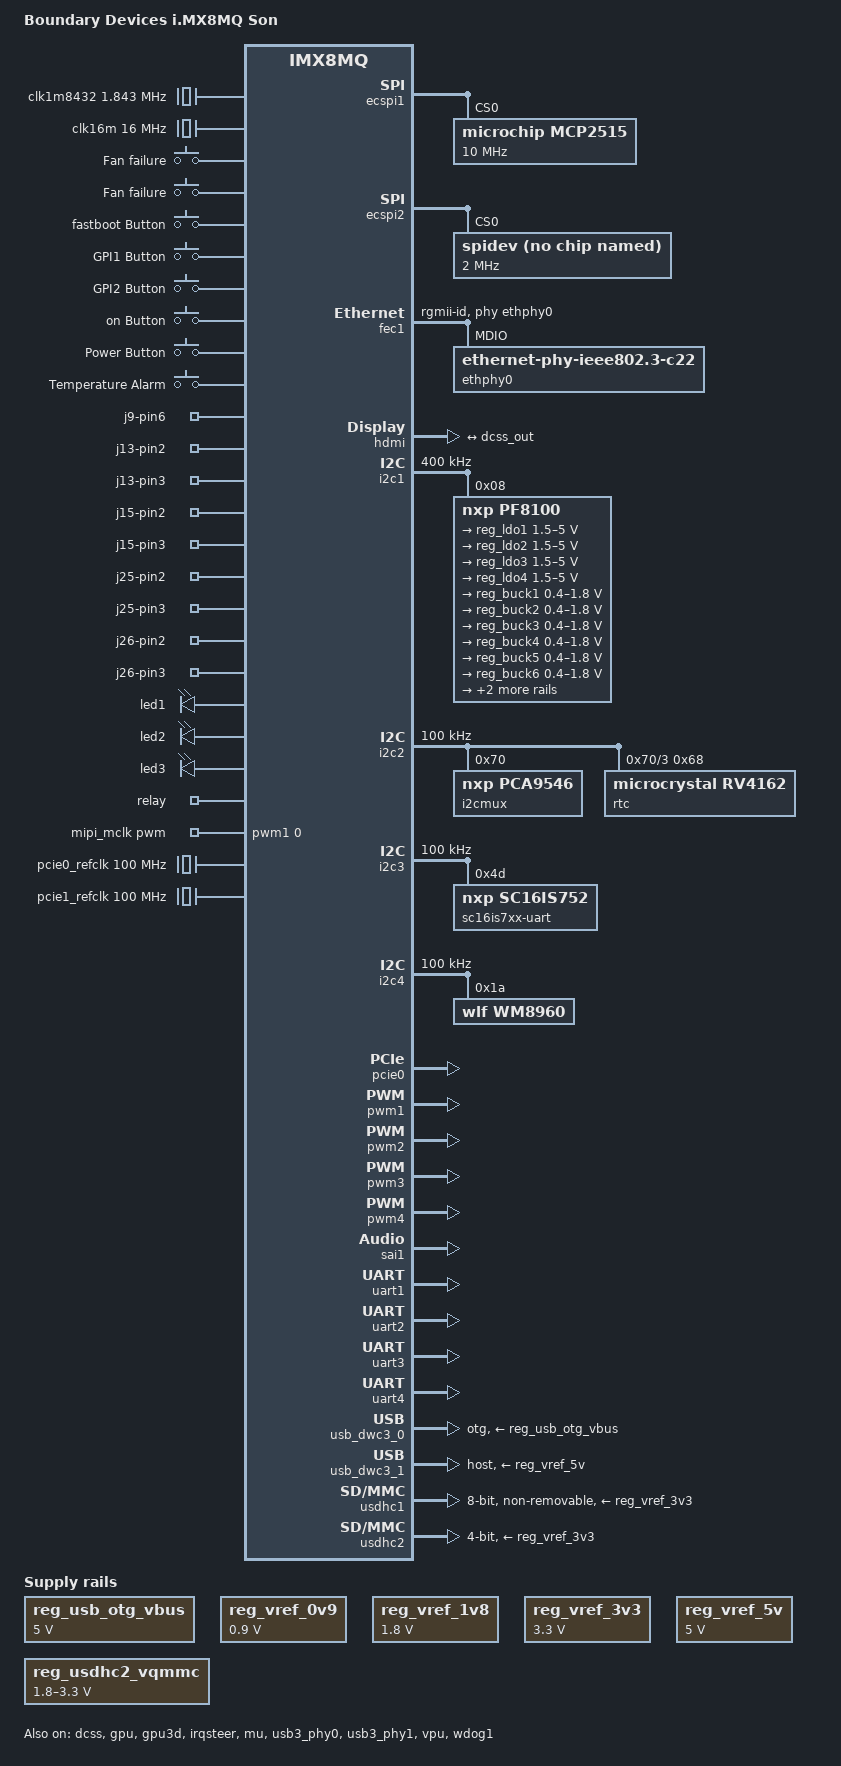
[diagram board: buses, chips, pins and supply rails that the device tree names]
// SPDX-License-Identifier: (GPL-2.0+ OR MIT)
/*
 * Copyright 2018 Boundary Devices
 */

/dts-v1/;

#include "imx8mq.dtsi"

&iomuxc {
	pinctrl-names = "default";
	pinctrl-0 = <&pinctrl_hog>;

	pinctrl_backlight: backlightgrp {
		fsl,pins = <
#define GP_BACKLIGHT_EN	<&gpio3 24 GPIO_ACTIVE_HIGH>
			MX8MQ_IOMUXC_SAI5_RXD3_GPIO3_IO24		0x03
		>;
	};

	pinctrl_bt_rfkill: bt-rfkillgrp {
		fsl,pins = <
#define GP_BT_RFKILL_RESET	<&gpio3 13 GPIO_ACTIVE_LOW>
			MX8MQ_IOMUXC_NAND_DATA07_GPIO3_IO13		0x19
		>;
	};

	pinctrl_ecspi1: ecspi1grp {
		fsl,pins = <
			/* MCP2515 */
#define GP_ECSPI1_CS0	<&gpio5 9 GPIO_ACTIVE_LOW>
			MX8MQ_IOMUXC_ECSPI1_SS0_GPIO5_IO9		0x19
			MX8MQ_IOMUXC_ECSPI1_MISO_ECSPI1_MISO		0x19
			MX8MQ_IOMUXC_ECSPI1_SCLK_ECSPI1_SCLK		0x19
			MX8MQ_IOMUXC_ECSPI1_MOSI_ECSPI1_MOSI		0x19
		>;
	};

	pinctrl_ecspi1_mcp2515t: ecspi1-mcp2515tgrp {
		fsl,pins = <
#define GPIRQ_MCP2515T		<&gpio1 8 IRQ_TYPE_LEVEL_LOW>
			MX8MQ_IOMUXC_GPIO1_IO08_GPIO1_IO8		0xc6
#define GP_MCP2515T_RESET	<&gpio1 4 GPIO_ACTIVE_LOW>
			MX8MQ_IOMUXC_GPIO1_IO04_GPIO1_IO4		0x06

#define GPIRQ_CAN_ERR	<&gpio1 0 IRQ_TYPE_LEVEL_LOW>
			MX8MQ_IOMUXC_GPIO1_IO00_GPIO1_IO0		0xc6
#define GP_CAN_EN		<&gpio1 3 GPIO_ACTIVE_HIGH>
			MX8MQ_IOMUXC_GPIO1_IO03_GPIO1_IO3		0x06
		>;
	};

	pinctrl_ecspi2: ecspi2grp {
		fsl,pins = <
			MX8MQ_IOMUXC_ECSPI2_MISO_ECSPI2_MISO		0x19	/* J23 Pin 6 */
			MX8MQ_IOMUXC_ECSPI2_MOSI_ECSPI2_MOSI		0x19	/* J23 Pin 8 */
#define GP_ECSPI2_CS0	<&gpio5 13 GPIO_ACTIVE_LOW>
			MX8MQ_IOMUXC_ECSPI2_SS0_GPIO5_IO13		0x19	/* J23 Pin 9 */
			MX8MQ_IOMUXC_ECSPI2_SCLK_ECSPI2_SCLK		0x19	/* J23 Pin 10 */
		>;
	};

	pinctrl_fec1: fec1grp {
		fsl,pins = <
			MX8MQ_IOMUXC_ENET_MDC_ENET1_MDC			0x3
			MX8MQ_IOMUXC_ENET_MDIO_ENET1_MDIO		0x23
			MX8MQ_IOMUXC_ENET_TX_CTL_ENET1_RGMII_TX_CTL	0x1f
			MX8MQ_IOMUXC_ENET_TXC_ENET1_RGMII_TXC		0x1f
			MX8MQ_IOMUXC_ENET_TD0_ENET1_RGMII_TD0		0x1f
			MX8MQ_IOMUXC_ENET_TD1_ENET1_RGMII_TD1		0x1f
			MX8MQ_IOMUXC_ENET_TD2_ENET1_RGMII_TD2		0x1f
			MX8MQ_IOMUXC_ENET_TD3_ENET1_RGMII_TD3		0x1f
			MX8MQ_IOMUXC_ENET_RX_CTL_ENET1_RGMII_RX_CTL	0x91
			MX8MQ_IOMUXC_ENET_RXC_ENET1_RGMII_RXC		0x91
			MX8MQ_IOMUXC_ENET_RD0_ENET1_RGMII_RD0		0x91
			MX8MQ_IOMUXC_ENET_RD1_ENET1_RGMII_RD1		0x91
			MX8MQ_IOMUXC_ENET_RD2_ENET1_RGMII_RD2		0x91
			MX8MQ_IOMUXC_ENET_RD3_ENET1_RGMII_RD3		0x91
#define GP_FEC1_RESET	<&gpio1 9 GPIO_ACTIVE_LOW>
			MX8MQ_IOMUXC_GPIO1_IO09_GPIO1_IO9		0x19
#define GPIRQ_FEC1_PHY	<&gpio1 11 IRQ_TYPE_LEVEL_LOW>
			MX8MQ_IOMUXC_GPIO1_IO11_GPIO1_IO11		0xc1
		>;
	};

	pinctrl_gpio_keys: gpio-keysgrp {
		fsl,pins = <
#define GP_AC_FAIL		<&gpio3 10 GPIO_ACTIVE_LOW>
			MX8MQ_IOMUXC_NAND_DATA04_GPIO3_IO10		0xc6	/* J8 Pin 4*/
#define GP_FAN_FAIL		<&gpio3 9 GPIO_ACTIVE_LOW>
			MX8MQ_IOMUXC_NAND_DATA03_GPIO3_IO9		0xc6	/* J8 Pin 5*/
#define GP_FASTBOOT_KEY		<&gpio1 7 GPIO_ACTIVE_LOW>
			MX8MQ_IOMUXC_GPIO1_IO07_GPIO1_IO7		0x19
#define GP_GPI1			<&gpio3 7 GPIO_ACTIVE_LOW>
			MX8MQ_IOMUXC_NAND_DATA01_GPIO3_IO7		0xc6	/* J9 Pin 7*/
#define GP_GPI2			<&gpio3 6 GPIO_ACTIVE_LOW>
			MX8MQ_IOMUXC_NAND_DATA00_GPIO3_IO6		0xc6	/* J9 Pin 4*/
#define GP_ON		<&gpio1 1 GPIO_ACTIVE_LOW>
			MX8MQ_IOMUXC_GPIO1_IO01_GPIO1_IO1
#define GP_POWER	<&gpio3 2 GPIO_ACTIVE_HIGH>
			MX8MQ_IOMUXC_NAND_CE1_B_GPIO3_IO2		0x19
#define GP_TEMP_ALARM		<&gpio3 8 GPIO_ACTIVE_LOW>
			MX8MQ_IOMUXC_NAND_DATA02_GPIO3_IO8		0xc6	/* J8 Pin 7*/
		>;
	};

	pinctrl_hog: hoggrp {
		fsl,pins = <
			MX8MQ_IOMUXC_NAND_WE_B_GPIO3_IO17		0xc6	/* WIFI EN */

			/* J17 connector, odd */
			MX8MQ_IOMUXC_SAI2_TXFS_GPIO4_IO24		0xc6	/* Pin 15 */
			MX8MQ_IOMUXC_SAI2_RXD0_GPIO4_IO23		0xc6	/* Pin 23 */
			MX8MQ_IOMUXC_SAI2_RXFS_GPIO4_IO21		0xc6	/* Pin 25 */
			MX8MQ_IOMUXC_SAI2_RXC_GPIO4_IO22		0xc6	/* Pin 29 */
			MX8MQ_IOMUXC_SAI1_RXFS_GPIO4_IO0		0xc6	/* Pin 19 */
			MX8MQ_IOMUXC_SAI1_RXC_GPIO4_IO1			0xc6	/* Pin 21 */
			MX8MQ_IOMUXC_SAI1_TXD1_GPIO4_IO13		0xc6	/* Pin 39 */
			MX8MQ_IOMUXC_SAI1_TXD2_GPIO4_IO14		0xc6	/* Pin 41 */
			MX8MQ_IOMUXC_SAI1_TXD3_GPIO4_IO15		0xc6	/* Pin 43 */

			/* J17 connector, even */
			MX8MQ_IOMUXC_SAI2_MCLK_GPIO4_IO27		0xc6	/* Pin 32 */
			MX8MQ_IOMUXC_SAI2_TXD0_GPIO4_IO26		0xc6	/* Pin 34 */
			MX8MQ_IOMUXC_GPIO1_IO05_GPIO1_IO5		0xc6	/* Pin 56 */

			/* J18 connector, odd */
			MX8MQ_IOMUXC_NAND_CE0_B_GPIO3_IO1		0xc6	/* Pin 43 */
			MX8MQ_IOMUXC_SAI1_RXD7_GPIO4_IO9		0xc6	/* Pin 47 */
			MX8MQ_IOMUXC_NAND_CE3_B_GPIO3_IO4		0xc6	/* Pin 49 */
			MX8MQ_IOMUXC_NAND_ALE_GPIO3_IO0			0xc6	/* Pin 51 */

			/* J18 connector, even */
			MX8MQ_IOMUXC_NAND_CLE_GPIO3_IO5			0xc6	/* Pin 36 */
			MX8MQ_IOMUXC_NAND_CE2_B_GPIO3_IO3		0xc6	/* Pin 38 */
			MX8MQ_IOMUXC_NAND_READY_B_GPIO3_IO16		0xc6	/* Pin 40 */

			/* Clock for both CSI1 and CSI2 */
			MX8MQ_IOMUXC_GPIO1_IO15_CCMSRCGPCMIX_CLKO2	0xc6
			MX8MQ_IOMUXC_SD2_WP_GPIO2_IO20			0xc6

			/* test points */
			MX8MQ_IOMUXC_SAI5_MCLK_GPIO3_IO25		0xc6	/* TP146 */
			MX8MQ_IOMUXC_SAI5_RXD0_GPIO3_IO21		0xc6	/* TP147 */
		>;
	};

	pinctrl_i2c1: i2c1grp {
		fsl,pins = <
			MX8MQ_IOMUXC_I2C1_SCL_I2C1_SCL			0x4000007f
			MX8MQ_IOMUXC_I2C1_SDA_I2C1_SDA			0x4000007f
		>;
	};

	pinctrl_i2c1_1: i2c1_1grp {
		fsl,pins = <
#define GP_I2C1_SCL	<&gpio5 14 GPIO_OPEN_DRAIN>
			MX8MQ_IOMUXC_I2C1_SCL_GPIO5_IO14		0x4000007f
#define GP_I2C1_SDA	<&gpio5 15 GPIO_OPEN_DRAIN>
			MX8MQ_IOMUXC_I2C1_SDA_GPIO5_IO15		0x4000007f
		>;
	};

	pinctrl_i2c1_pf8100: i2c1-pf8100grp {
		fsl,pins = <
#define GP_I2C1_PF8100_EWARN	<&gpio3 23 GPIO_ACTIVE_LOW>
			MX8MQ_IOMUXC_SAI5_RXD2_GPIO3_IO23		0xc1
#define GP_I2C1_PF8100_FAULT	<&gpio3 22 GPIO_ACTIVE_LOW>
			MX8MQ_IOMUXC_SAI5_RXD1_GPIO3_IO22		0xc1
		>;
	};

	pinctrl_i2c2: i2c2grp {
		fsl,pins = <
			MX8MQ_IOMUXC_I2C2_SCL_I2C2_SCL			0x4000007f
			MX8MQ_IOMUXC_I2C2_SDA_I2C2_SDA			0x4000007f
		>;
	};

	pinctrl_i2c2_1: i2c2_1grp {
		fsl,pins = <
#define GP_I2C2_SCL	<&gpio5 16 GPIO_OPEN_DRAIN>
			MX8MQ_IOMUXC_I2C2_SCL_GPIO5_IO16		0x4000007f
#define GP_I2C2_SDA	<&gpio5 17 GPIO_OPEN_DRAIN>
			MX8MQ_IOMUXC_I2C2_SDA_GPIO5_IO17		0x4000007f
		>;
	};

	pinctrl_i2c2_pca9546: i2c2-pca9546grp {
		fsl,pins = <
#define GP_I2C2_PCA9546_RESET	<&gpio3 18 GPIO_ACTIVE_LOW>
			MX8MQ_IOMUXC_NAND_WP_B_GPIO3_IO18		0x49
		>;
	};

	pinctrl_i2c2a_sn65dsi83: i2c2a-sn65dsi83grp {
		fsl,pins = <
#define GPIRQ_I2C2A_SN65DSI83	<&gpio3 19 IRQ_TYPE_LEVEL_HIGH>
			MX8MQ_IOMUXC_SAI5_RXFS_GPIO3_IO19	0x04
#define GP_I2C2A_SN65DSI83_EN	<&gpio3 15 GPIO_ACTIVE_HIGH>
			MX8MQ_IOMUXC_NAND_RE_B_GPIO3_IO15	0x06
		>;
	};

	pinctrl_i2c2d_rv4162: i2c2d-rv4162grp {
		fsl,pins = <
#define GPIRQ_RV4162		<&gpio1 6 IRQ_TYPE_LEVEL_LOW>
			MX8MQ_IOMUXC_GPIO1_IO06_GPIO1_IO6		0x49
		>;
	};

	pinctrl_i2c3: i2c3grp {
		fsl,pins = <
			MX8MQ_IOMUXC_I2C3_SCL_I2C3_SCL			0x4000007f
			MX8MQ_IOMUXC_I2C3_SDA_I2C3_SDA			0x4000007f
		>;
	};

	pinctrl_i2c3_1: i2c3_1grp {
		fsl,pins = <
#define GP_I2C3_SCL	<&gpio5 18 GPIO_OPEN_DRAIN>
			MX8MQ_IOMUXC_I2C3_SCL_GPIO5_IO18		0x4000007f
#define GP_I2C3_SDA	<&gpio5 19 GPIO_OPEN_DRAIN>
			MX8MQ_IOMUXC_I2C3_SDA_GPIO5_IO19		0x4000007f
		>;
	};
	pinctrl_i2c3_sc16is7xx: i2c3-sc16is7xxgrp {
		fsl,pins = <
#define GPIRQ_SC16IS7XX		<&gpio4 30 IRQ_TYPE_LEVEL_LOW>
			MX8MQ_IOMUXC_SAI3_RXD_GPIO4_IO30		0xc1
#define GP_SC16IS7XX_RESET	<&gpio4 29 GPIO_ACTIVE_LOW>
			MX8MQ_IOMUXC_SAI3_RXC_GPIO4_IO29		0xc1
		>;
	};

	pinctrl_i2c4: i2c4grp {
		fsl,pins = <
			MX8MQ_IOMUXC_I2C4_SCL_I2C4_SCL			0x4000007f
			MX8MQ_IOMUXC_I2C4_SDA_I2C4_SDA			0x4000007f
		>;
	};

	pinctrl_i2c4_1: i2c4_1grp {
		fsl,pins = <
#define GP_I2C4_SCL	<&gpio5 20 GPIO_OPEN_DRAIN>
			MX8MQ_IOMUXC_I2C4_SCL_GPIO5_IO20		0x4000007f
#define GP_I2C4_SDA	<&gpio5 21 GPIO_OPEN_DRAIN>
			MX8MQ_IOMUXC_I2C4_SDA_GPIO5_IO21		0x4000007f
		>;
	};

	pinctrl_leds: ledsgrp {
		fsl,pins = <
#define GP_J9_PIN6			<&gpio3 11 GPIO_ACTIVE_HIGH>
			MX8MQ_IOMUXC_NAND_DATA05_GPIO3_IO11	0x06
#define GP_J13_PIN2			<&gpio4 19 GPIO_ACTIVE_HIGH>
			MX8MQ_IOMUXC_SAI1_TXD7_GPIO4_IO19		0x06
#define GP_J13_PIN3			<&gpio4 18 GPIO_ACTIVE_HIGH>
			MX8MQ_IOMUXC_SAI1_TXD6_GPIO4_IO18		0x06
#define GP_J15_PIN2			<&gpio4 5 GPIO_ACTIVE_HIGH>
			MX8MQ_IOMUXC_SAI1_RXD3_GPIO4_IO5		0x06
#define GP_J15_PIN3			<&gpio4 4 GPIO_ACTIVE_HIGH>
			MX8MQ_IOMUXC_SAI1_RXD2_GPIO4_IO4		0x06
#define GP_J25_PIN2			<&gpio4 17 GPIO_ACTIVE_HIGH>
			MX8MQ_IOMUXC_SAI1_TXD5_GPIO4_IO17		0x06
#define GP_J25_PIN3			<&gpio4 16 GPIO_ACTIVE_HIGH>
			MX8MQ_IOMUXC_SAI1_TXD4_GPIO4_IO16		0x06
#define GP_J26_PIN2			<&gpio4 3 GPIO_ACTIVE_HIGH>
			MX8MQ_IOMUXC_SAI1_RXD1_GPIO4_IO3		0x06
#define GP_J26_PIN3			<&gpio4 6 GPIO_ACTIVE_HIGH>
			MX8MQ_IOMUXC_SAI1_RXD4_GPIO4_IO6		0x06
#define GP_LED1				<&gpio4 7 GPIO_ACTIVE_HIGH>
			MX8MQ_IOMUXC_SAI1_RXD5_GPIO4_IO7		0x19
#define GP_LED2				<&gpio4 8 GPIO_ACTIVE_HIGH>
			MX8MQ_IOMUXC_SAI1_RXD6_GPIO4_IO8		0x19
#define GP_LED3				<&gpio4 25 GPIO_ACTIVE_HIGH>
			MX8MQ_IOMUXC_SAI2_TXC_GPIO4_IO25		0xd6
#define GP_RELAY			<&gpio3 12 GPIO_ACTIVE_HIGH>
			MX8MQ_IOMUXC_NAND_DATA06_GPIO3_IO12	0x06
		>;
	};

	pinctrl_pcie0: pcie0grp {
		fsl,pins = <
#define GP_PCIE0_RESET		<&gpio3 14 GPIO_ACTIVE_LOW>
			MX8MQ_IOMUXC_NAND_DQS_GPIO3_IO14	0x16
#define GP_PCIE0_CLKREQ		<&gpio1 10 GPIO_ACTIVE_LOW>
			MX8MQ_IOMUXC_GPIO1_IO10_GPIO1_IO10	0xe6	/* TP145 on old rev */
		>;
	};

	pinctrl_pwm1: pwm1grp {
		fsl,pins = <
			MX8MQ_IOMUXC_SPDIF_EXT_CLK_PWM1_OUT	0x16	/* J17 pin 31 */
		>;
	};

	pinctrl_pwm2: pwm2grp {
		fsl,pins = <
			MX8MQ_IOMUXC_SPDIF_RX_PWM2_OUT		0x16
		>;
	};

	pinctrl_pwm3: pwm3grp {
		fsl,pins = <
			MX8MQ_IOMUXC_SPDIF_TX_PWM3_OUT		0x16
		>;
	};

	pinctrl_pwm4: pwm4grp {
		fsl,pins = <
			MX8MQ_IOMUXC_SAI3_MCLK_PWM4_OUT		0x16
		>;
	};

	pinctrl_reg_usbotg_vbus: reg-usbotg-vbusgrp {
		fsl,pins = <
#define GP_REG_USB_OTG_VBUS	<&gpio1 12 GPIO_ACTIVE_HIGH>
			MX8MQ_IOMUXC_GPIO1_IO12_GPIO1_IO12	0x16
		>;
	};

	pinctrl_reg_usdhc2_vqmmc: reg-usdhc2-vqmmcgrp {
		fsl,pins = <
#define GP_USDHC2_VSEL	<&gpio3 20 GPIO_ACTIVE_HIGH>
			MX8MQ_IOMUXC_SAI5_RXC_GPIO3_IO20	0x16
		>;
	};

	pinctrl_sai1: sai1grp {
		fsl,pins = <
			/* wm8960 */
			MX8MQ_IOMUXC_SAI1_MCLK_SAI1_MCLK		0xd6
			MX8MQ_IOMUXC_SAI1_TXFS_SAI1_TX_SYNC		0xd6
			MX8MQ_IOMUXC_SAI1_TXC_SAI1_TX_BCLK		0xd6
			MX8MQ_IOMUXC_SAI1_TXD0_SAI1_TX_DATA0		0xd6
			MX8MQ_IOMUXC_SAI1_RXD0_SAI1_RX_DATA0		0xd6
		>;
	};

	/* i2c4 wm8960 - Amplifier Mute, TDA7491LP13TR */
	pinctrl_sound_wm8960: sound-wm8960grp {
		fsl,pins = <
#define GP_WM8960_AMP_STDBY	<&gpio4 28 GPIO_ACTIVE_LOW>		/* Low is standby */
			MX8MQ_IOMUXC_SAI3_RXFS_GPIO4_IO28	0x06
#define GP_WM8960_AMP_MUTE	<&gpio4 31 GPIO_ACTIVE_LOW>		/* Low is muted */
			MX8MQ_IOMUXC_SAI3_TXFS_GPIO4_IO31	0x06
#define GP_WM8960_AMP_G0	<&gpio5 0 GPIO_ACTIVE_HIGH>
			MX8MQ_IOMUXC_SAI3_TXC_GPIO5_IO0		0x06
#define GP_WM8960_AMP_G1	<&gpio5 1 GPIO_ACTIVE_HIGH>
			MX8MQ_IOMUXC_SAI3_TXD_GPIO5_IO1		0x06
		>;
	};

	pinctrl_uart1: uart1grp {
		fsl,pins = <
			MX8MQ_IOMUXC_UART1_RXD_UART1_DCE_RX		0x45
			MX8MQ_IOMUXC_UART1_TXD_UART1_DCE_TX		0x45
		>;
	};

	pinctrl_uart2: uart2grp {
		fsl,pins = <
			MX8MQ_IOMUXC_UART2_RXD_UART2_DCE_RX		0x45
			MX8MQ_IOMUXC_UART2_TXD_UART2_DCE_TX		0x45
		>;
	};

	pinctrl_uart3: uart3grp {
		fsl,pins = <
			MX8MQ_IOMUXC_UART3_RXD_UART3_DCE_RX		0x45
			MX8MQ_IOMUXC_UART3_TXD_UART3_DCE_TX		0x45
		>;
	};

	pinctrl_uart4: uart4grp {
		fsl,pins = <
			MX8MQ_IOMUXC_UART4_RXD_UART4_DCE_RX		0x45
			MX8MQ_IOMUXC_UART4_TXD_UART4_DCE_TX		0x45
		>;
	};

	pinctrl_usb3_0: usb3-0grp {
		fsl,pins = <
			MX8MQ_IOMUXC_GPIO1_IO13_USB1_OTG_OC		0x16
		>;
	};

	pinctrl_usb3_1: usb3-1grp {
		fsl,pins = <
#define GP_USB3_1_HUB_RESET	<&gpio1 14 GPIO_ACTIVE_LOW>
			MX8MQ_IOMUXC_GPIO1_IO14_GPIO1_IO14		0x16
		>;
	};

	pinctrl_usdhc1: usdhc1grp {
		fsl,pins = <
			MX8MQ_IOMUXC_SD1_CLK_USDHC1_CLK			0x83
			MX8MQ_IOMUXC_SD1_CMD_USDHC1_CMD			0xc3
			MX8MQ_IOMUXC_SD1_DATA0_USDHC1_DATA0		0xc3
			MX8MQ_IOMUXC_SD1_DATA1_USDHC1_DATA1		0xc3
			MX8MQ_IOMUXC_SD1_DATA2_USDHC1_DATA2		0xc3
			MX8MQ_IOMUXC_SD1_DATA3_USDHC1_DATA3		0xc3
			MX8MQ_IOMUXC_SD1_DATA4_USDHC1_DATA4		0xc3
			MX8MQ_IOMUXC_SD1_DATA5_USDHC1_DATA5		0xc3
			MX8MQ_IOMUXC_SD1_DATA6_USDHC1_DATA6		0xc3
			MX8MQ_IOMUXC_SD1_DATA7_USDHC1_DATA7		0xc3
#define GP_EMMC_RESET		<&gpio2 10 GPIO_ACTIVE_LOW>
			MX8MQ_IOMUXC_SD1_RESET_B_GPIO2_IO10		0x41
		>;
	};

	pinctrl_usdhc1_100mhz: usdhc1grp100mhz {
		fsl,pins = <
			MX8MQ_IOMUXC_SD1_CLK_USDHC1_CLK			0x8d
			MX8MQ_IOMUXC_SD1_CMD_USDHC1_CMD			0xcd
			MX8MQ_IOMUXC_SD1_DATA0_USDHC1_DATA0		0xcd
			MX8MQ_IOMUXC_SD1_DATA1_USDHC1_DATA1		0xcd
			MX8MQ_IOMUXC_SD1_DATA2_USDHC1_DATA2		0xcd
			MX8MQ_IOMUXC_SD1_DATA3_USDHC1_DATA3		0xcd
			MX8MQ_IOMUXC_SD1_DATA4_USDHC1_DATA4		0xcd
			MX8MQ_IOMUXC_SD1_DATA5_USDHC1_DATA5		0xcd
			MX8MQ_IOMUXC_SD1_DATA6_USDHC1_DATA6		0xcd
			MX8MQ_IOMUXC_SD1_DATA7_USDHC1_DATA7		0xcd
		>;
	};

	pinctrl_usdhc1_200mhz: usdhc1grp200mhz {
		fsl,pins = <
			MX8MQ_IOMUXC_SD1_CLK_USDHC1_CLK			0x9f
			MX8MQ_IOMUXC_SD1_CMD_USDHC1_CMD			0xdf
			MX8MQ_IOMUXC_SD1_DATA0_USDHC1_DATA0		0xdf
			MX8MQ_IOMUXC_SD1_DATA1_USDHC1_DATA1		0xdf
			MX8MQ_IOMUXC_SD1_DATA2_USDHC1_DATA2		0xdf
			MX8MQ_IOMUXC_SD1_DATA3_USDHC1_DATA3		0xdf
			MX8MQ_IOMUXC_SD1_DATA4_USDHC1_DATA4		0xdf
			MX8MQ_IOMUXC_SD1_DATA5_USDHC1_DATA5		0xdf
			MX8MQ_IOMUXC_SD1_DATA6_USDHC1_DATA6		0xdf
			MX8MQ_IOMUXC_SD1_DATA7_USDHC1_DATA7		0xdf
		>;
	};

	pinctrl_usdhc2: usdhc2grp {
		fsl,pins = <
			MX8MQ_IOMUXC_SD2_CLK_USDHC2_CLK			0x83
			MX8MQ_IOMUXC_SD2_CMD_USDHC2_CMD			0xc3
			MX8MQ_IOMUXC_SD2_DATA0_USDHC2_DATA0		0xc3
			MX8MQ_IOMUXC_SD2_DATA1_USDHC2_DATA1		0xc3
			MX8MQ_IOMUXC_SD2_DATA2_USDHC2_DATA2		0xc3
			MX8MQ_IOMUXC_SD2_DATA3_USDHC2_DATA3		0xc3
#define GP_USDHC2_CD	<&gpio2 12 GPIO_ACTIVE_LOW>
			MX8MQ_IOMUXC_SD2_CD_B_GPIO2_IO12		0xc3
		>;
	};

	pinctrl_usdhc2_100mhz: usdhc2grp100mhz {
		fsl,pins = <
			MX8MQ_IOMUXC_SD2_CLK_USDHC2_CLK			0x8d
			MX8MQ_IOMUXC_SD2_CMD_USDHC2_CMD			0xcd
			MX8MQ_IOMUXC_SD2_DATA0_USDHC2_DATA0		0xcd
			MX8MQ_IOMUXC_SD2_DATA1_USDHC2_DATA1		0xcd
			MX8MQ_IOMUXC_SD2_DATA2_USDHC2_DATA2		0xcd
			MX8MQ_IOMUXC_SD2_DATA3_USDHC2_DATA3		0xcd
		>;
	};

	pinctrl_usdhc2_200mhz: usdhc2grp200mhz {
		fsl,pins = <
			MX8MQ_IOMUXC_SD2_CLK_USDHC2_CLK			0x9f
			MX8MQ_IOMUXC_SD2_CMD_USDHC2_CMD			0xdf
			MX8MQ_IOMUXC_SD2_DATA0_USDHC2_DATA0		0xdf
			MX8MQ_IOMUXC_SD2_DATA1_USDHC2_DATA1		0xdf
			MX8MQ_IOMUXC_SD2_DATA2_USDHC2_DATA2		0xdf
			MX8MQ_IOMUXC_SD2_DATA3_USDHC2_DATA3		0xdf
		>;
	};

	pinctrl_wdog: wdoggrp {
		fsl,pins = <
			MX8MQ_IOMUXC_GPIO1_IO02_WDOG1_WDOG_B		0xc6
		>;
	};
};

/ {
	model = "Boundary Devices i.MX8MQ Son";
	compatible = "boundary,imx8mq-son", "fsl,imx8mq";

	aliases {
		backlight_mipi = &backlight_mipi;
		dcss = &dcss;
		fb_mipi = &fb_mipi;
		fb_hdmi = &hdmi;
		lcdif = &lcdif;
		mipi = &fb_mipi;
		mipi_dsi = &mipi_dsi;
		mipi_dsi_bridge = &mipi_dsi;
		mipi_dsi_phy = &dphy;
		mipi_to_lvds = &mipi_to_lvds;
		pwm_mipi = &pwm1;
		sound_hdmi = &sound_hdmi;
		t_mipi = &t_mipi;
	};

	backlight_mipi: backlight-mipi {
		brightness-levels = <0 1 2 3 4 5 6 7 8 9 10>;
		compatible = "pwm-backlight";
		default-brightness-level = <8>;
		display = <&lcdif>;
		enable-gpios = GP_BACKLIGHT_EN;
		pinctrl-names = "default";
		pinctrl-0 = <&pinctrl_backlight>;
		pwms = <&pwm3 0 30000>;		/* 33.3 Khz */
		status = "disabled";
	};

	bt-rfkill {
		compatible = "net,rfkill-gpio";
		pinctrl-names = "default";
		pinctrl-0 = <&pinctrl_bt_rfkill>;
		name = "bt-rfkill";
		type = <2>; /* Bluetooth */
		reset-gpios = GP_BT_RFKILL_RESET;
		status = "okay";
	};

	clocks {
		clk1m8432: clk1m8432 {
			compatible = "fixed-clock";
			#clock-cells = <0>;
			clock-frequency = <1843200>;
		};

		clk16m: clk16m {
			compatible = "fixed-clock";
			#clock-cells = <0>;
			clock-frequency = <16000000>;
		};
	};

	gpio-keys {
		compatible = "gpio-keys";
		pinctrl-names = "default";
		pinctrl-0 = <&pinctrl_gpio_keys>;

		ac-fail {
			label = "Fan failure";
			gpios = GP_AC_FAIL;
			linux,code = <KEY_A>;
			gpio-key,wakeup;
		};

		fan-fail {
			label = "Fan failure";
			gpios = GP_FAN_FAIL;
			linux,code = <KEY_F>;
			gpio-key,wakeup;
		};

		fastboot {
			label = "fastboot Button";
			gpios = GP_FASTBOOT_KEY;
			linux,code = <KEY_ESC>;
			gpio-key,wakeup;
		};

		gpi1 {
			label = "GPI1 Button";
			gpios = GP_GPI1;
			linux,code = <KEY_1>;
			gpio-key,wakeup;
		};

		gpi2 {
			label = "GPI2 Button";
			gpios = GP_GPI2;
			linux,code = <KEY_2>;
			gpio-key,wakeup;
		};

		on {
			label = "on Button";
			gpios = GP_ON;
			linux,code = <KEY_0>;
			gpio-key,wakeup;
		};

		power {
			label = "Power Button";
			gpios = GP_POWER;
			linux,code = <KEY_POWER>;
			gpio-key,wakeup;
		};

		temp-alarm {
			label = "Temperature Alarm";
			gpios = GP_TEMP_ALARM;
			linux,code = <KEY_T>;
			gpio-key,wakeup;
		};
	};

	leds {
		compatible = "gpio-leds";
		pinctrl-names = "default";
		pinctrl-0 = <&pinctrl_leds>;
		j9-pin6 {
			gpios = GP_J9_PIN6;
			retain-state-suspended;
			default-state = "off";
		};

		j13-pin2 {
			gpios = GP_J13_PIN2;
			retain-state-suspended;
			default-state = "off";
		};

		j13-pin3 {
			gpios = GP_J13_PIN3;
			retain-state-suspended;
			default-state = "off";
		};

		j15-pin2 {
			gpios = GP_J15_PIN2;
			retain-state-suspended;
			default-state = "off";
		};

		j15-pin3 {
			gpios = GP_J15_PIN3;
			retain-state-suspended;
			default-state = "off";
		};

		j25-pin2 {
			gpios = GP_J25_PIN2;
			retain-state-suspended;
			default-state = "off";
		};

		j25-pin3 {
			gpios = GP_J25_PIN3;
			retain-state-suspended;
			default-state = "off";
		};

		j26-pin2 {
			gpios = GP_J26_PIN2;
			retain-state-suspended;
			default-state = "off";
		};

		j26-pin3 {
			gpios = GP_J26_PIN3;
			retain-state-suspended;
			default-state = "off";
		};

		led1 {
			gpios = GP_LED1;
			retain-state-suspended;
			default-state = "off";
		};

		led2 {
			gpios = GP_LED2;
			retain-state-suspended;
			default-state = "off";
		};

		led3 {
			gpios = GP_LED3;
			retain-state-suspended;
			default-state = "off";
		};

		relay {
			gpios = GP_RELAY;
			retain-state-suspended;
			default-state = "off";
		};
	};

	mipi_mclk: mipi-mclk {
		compatible = "pwm-clock";
		#clock-cells = <0>;
		clock-frequency = <22000000>;
		clock-output-names = "mipi_mclk";
		pwms = <&pwm1 0 45>; /* 1 / 45 ns = 22 MHz */
	};

	pcie0_refclk: pcie0-refclk {
		compatible = "fixed-clock";
		#clock-cells = <0>;
		clock-frequency = <100000000>;
	};

	pcie1_refclk: pcie1-refclk {
		compatible = "fixed-clock";
		#clock-cells = <0>;
		clock-frequency = <100000000>;
	};

	reg_usb_otg_vbus: regulator-usb-otg-vbus {
		compatible = "regulator-fixed";
		pinctrl-names = "default";
		pinctrl-0 = <&pinctrl_reg_usbotg_vbus>;
		regulator-name = "usb_otg_vbus";
		regulator-min-microvolt = <5000000>;
		regulator-max-microvolt = <5000000>;
		gpio = GP_REG_USB_OTG_VBUS;
		enable-active-high;
	};

	reg_vref_0v9: regulator-vref-0v9 {
		compatible = "regulator-fixed";
		regulator-name = "vref-0v9";
		regulator-min-microvolt = <900000>;
		regulator-max-microvolt = <900000>;
	};

	reg_vref_1v8: regulator-vref-1v8 {
		compatible = "regulator-fixed";
		regulator-name = "vref-1v8";
		regulator-min-microvolt = <1800000>;
		regulator-max-microvolt = <1800000>;
	};

	reg_vref_3v3: regulator-vref-3v3 {
		compatible = "regulator-fixed";
		regulator-name = "vref-3v3";
		regulator-min-microvolt = <3300000>;
		regulator-max-microvolt = <3300000>;
	};

	reg_vref_5v: regulator-vref-5v {
		compatible = "regulator-fixed";
		regulator-name = "vref-5v";
		regulator-min-microvolt = <5000000>;
		regulator-max-microvolt = <5000000>;
	};

	reg_usdhc2_vqmmc: regulator-usdhc2-vqmmc {
		compatible = "regulator-gpio";
		pinctrl-names = "default";
		pinctrl-0 = <&pinctrl_reg_usdhc2_vqmmc>;
		regulator-name = "reg_sd2_vsel";
		regulator-min-microvolt = <1800000>;
		regulator-max-microvolt = <3300000>;
		regulator-type = "voltage";
		regulator-boot-on;
		regulator-always-on;
		gpios = GP_USDHC2_VSEL;
		states = <1800000 0x1
			  3300000 0x0>;
	};

	resmem: reserved-memory {
		#address-cells = <2>;
		#size-cells = <2>;
		ranges;

		/* global autoconfigured region for contiguous allocations */
		linux,cma {
			compatible = "shared-dma-pool";
			reusable;
			size = <0 0x3c000000>;
			alloc-ranges = <0 0x40000000 0 0x40000000>;
			linux,cma-default;
		};
	};

	sound-wm8960 {
		amp-gain-gpios = GP_WM8960_AMP_G0, GP_WM8960_AMP_G1;
		/* amp-gain-seq = /bits/ 8 <0 1 2 3>; */ /* default */
		amp-mute-gpios = GP_WM8960_AMP_MUTE;
		/* delay between mute and standby enter */
		amp-standby-enter-wait-ms = <50>;
		/* delay between standby exit and unmute */
		amp-standby-exit-delay-ms = <100>;
		amp-standby-gpios = GP_WM8960_AMP_STDBY;
		audio-codec = <&wm8960>;
		audio-routing =
			"Ext Spk", "HP_L",
			"Ext Spk", "HP_R",
			"LINPUT1", "Main MIC",
			"Main MIC", "MICB";
		codec-master;
		compatible = "fsl,imx-audio-wm8960";
		cpu-dai = <&sai1>;
		model = "wm8960-audio";
		pinctrl-names = "default";
		pinctrl-0 = <&pinctrl_sound_wm8960>;
	};

	sound_hdmi: sound-hdmi {
		compatible = "fsl,imx-audio-cdnhdmi";
		model = "imx-audio-hdmi";
		audio-cpu = <&sai4>;
		constraint-rate = <32000 44100 48000 96000 192000>;
		protocol = <1>;
		hdmi-out;
		status = "okay";
	};
};

&A53_0 {
	cpu-supply = <&reg_buck3>;
};

&A53_1 {
	cpu-supply = <&reg_buck3>;
};

&A53_2 {
	cpu-supply = <&reg_buck3>;
};

&A53_3 {
	cpu-supply = <&reg_buck3>;
};

&dcss {
	status = "okay";

	port {
		dcss_out: endpoint {
			remote-endpoint = <&hdmi_in>;
		};
	};
};

&ecspi1 {
	pinctrl-names = "default";
	pinctrl-0 = <&pinctrl_ecspi1>;
	fsl,spi-num-chipselects = <1>;
	cs-gpios = GP_ECSPI1_CS0;
	status = "okay";
	#address-cells = <1>;
	#size-cells = <0>;

	/* can bus */
	mcp2515: mcp2515@0 {
		clocks = <&clk16m>;
		compatible = "microchip,mcp2515";
		err-gpios = GPIRQ_CAN_ERR;
		interrupts-extended = GPIRQ_MCP2515T;
		pinctrl-names = "default";
		pinctrl-0 = <&pinctrl_ecspi1_mcp2515t>;
		reg = <0>;
		reset-gpios = GP_MCP2515T_RESET;
		spi-max-frequency = <10000000>;
		xceiver-gpios = GP_CAN_EN;
	};
};

&ecspi2 {
	pinctrl-names = "default";
	pinctrl-0 = <&pinctrl_ecspi2>;
	fsl,spi-num-chipselects = <1>;
	cs-gpios = GP_ECSPI2_CS0;
	status = "okay";
	#address-cells = <1>;
	#size-cells = <0>;

	spidev@0 {
		compatible = "spidev";
		spi-max-frequency = <2000000>;
		reg = <0>;
	};
};

&fec1 {
	pinctrl-names = "default";
	pinctrl-0 = <&pinctrl_fec1>;
#if 0
	phy-reset-gpios = GP_FEC1_RESET;
#endif
	phy-mode = "rgmii-id";
	phy-handle = <&ethphy0>;
	fsl,magic-packet;
	status = "okay";

	mdio {
		#address-cells = <1>;
		#size-cells = <0>;

		ethphy0: ethernet-phy {
			compatible = "ethernet-phy-ieee802.3-c22";
			interrupts-extended = GPIRQ_FEC1_PHY;
			reg-mask = <0x90>;
		};
	};
};

&gpu {
	power-domains = <&pgc_gpu>;
	status = "okay";
};

&gpu3d {
	power-domains = <&pgc_gpu>;
	status = "okay";
};

&hdmi {
	compatible = "cdn,imx8mq-hdmi";
	lane-mapping = <0xe4>;
	status = "okay";

	port {
		hdmi_in: endpoint {
			remote-endpoint = <&dcss_out>;
		};
	};
};

&i2c1 {
	clock-frequency = <400000>;
	pinctrl-names = "default";
	pinctrl-0 = <&pinctrl_i2c1>;
	pinctrl-1 = <&pinctrl_i2c1_1>;
	scl-gpios = GP_I2C1_SCL;
	sda-gpios = GP_I2C1_SDA;
	status = "okay";

	pf8100@8 {
		compatible = "nxp,pf8100";
		pinctrl-names = "default";
		pinctrl-0 = <&pinctrl_i2c1_pf8100>;
		reg = <0x08>;

		regulators {
			reg_ldo1: ldo1 {
				regulator-always-on;
				regulator-boot-on;
				regulator-max-microvolt = <5000000>;
				regulator-min-microvolt = <1500000>;
			};

			reg_ldo2: ldo2 {
				regulator-always-on;
				regulator-boot-on;
				regulator-max-microvolt = <5000000>;
				regulator-min-microvolt = <1500000>;
				/* vselect low is 3.3V, high is 1.8V */
				vselect-en;
			};

			reg_ldo3: ldo3 {
				regulator-always-on;
				regulator-boot-on;
				regulator-max-microvolt = <5000000>;
				regulator-min-microvolt = <1500000>;
			};

			reg_ldo4: ldo4 {
				regulator-always-on;
				regulator-boot-on;
				regulator-max-microvolt = <5000000>;
				regulator-min-microvolt = <1500000>;
			};

			reg_buck1: buck1 {
				nxp,phase-shift = <0>;
				regulator-max-microamp = <4500000>;
				regulator-always-on;
				regulator-boot-on;
				regulator-max-microvolt = <1800000>;
				regulator-min-microvolt =  <400000>;
			};

			reg_buck2: buck2 {
				regulator-always-on;
				regulator-boot-on;
				regulator-max-microvolt = <1800000>;
				regulator-min-microvolt =  <400000>;
			};

			reg_buck3: buck3 {
				regulator-always-on;
				regulator-boot-on;
				regulator-max-microvolt = <1800000>;
				regulator-min-microvolt =  <400000>;
			};

			reg_buck4: buck4 {
				regulator-always-on;
				regulator-boot-on;
				regulator-max-microvolt = <1800000>;
				regulator-min-microvolt =  <400000>;
			};

			reg_buck5: buck5 {
				regulator-always-on;
				regulator-boot-on;
				regulator-max-microvolt = <1800000>;
				regulator-min-microvolt =  <400000>;
			};

			reg_buck6: buck6 {
				regulator-always-on;
				regulator-boot-on;
				regulator-max-microvolt = <1800000>;
				regulator-min-microvolt =  <400000>;
			};

			reg_buck7: buck7 {
				regulator-always-on;
				regulator-boot-on;
				regulator-max-microvolt = <4100000>;
				regulator-min-microvolt = <1000000>;
			};

			reg_vsnvs: vsnvs {
				regulator-always-on;
				regulator-boot-on;
				regulator-max-microvolt = <3300000>;
				regulator-min-microvolt = <1800000>;
			};
		};
	};
};

&i2c2 {
	clock-frequency = <100000>;
	pinctrl-names = "default";
	pinctrl-0 = <&pinctrl_i2c2>;
	pinctrl-1 = <&pinctrl_i2c2_1>;
	scl-gpios = GP_I2C2_SCL;
	sda-gpios = GP_I2C2_SDA;
	status = "okay";

	i2cmux@70 {
		compatible = "nxp,pca9546";
		pinctrl-names = "default";
		pinctrl-0 = <&pinctrl_i2c2_pca9546>;
		reg = <0x70>;
		reset-gpios = GP_I2C2_PCA9546_RESET;
		#address-cells = <1>;
		#size-cells = <0>;

		i2c2a: i2c2@0 {
			reg = <0>;
			#address-cells = <1>;
			#size-cells = <0>;
		};

		i2c2b: i2c2@1 {
			reg = <1>;
			#address-cells = <1>;
			#size-cells = <0>;
		};

		i2c2c: i2c2@2 {
			reg = <2>;
			#address-cells = <1>;
			#size-cells = <0>;
		};

		i2c2d: i2c2@3 {
			reg = <3>;
			#address-cells = <1>;
			#size-cells = <0>;
		};
	};
};

&i2c2b {
	/* J27 */
};

&i2c2c {
	/* J28 */
};

&i2c2d {
	rtc@68 {
		compatible = "microcrystal,rv4162";
		pinctrl-names = "default";
		pinctrl-0 = <&pinctrl_i2c2d_rv4162>;
		reg = <0x68>;
		interrupts-extended = GPIRQ_RV4162;
		sqw-freq = <32768>;
		wakeup-source;
	};
};

&i2c3 {
	clock-frequency = <100000>;
	pinctrl-names = "default";
	pinctrl-0 = <&pinctrl_i2c3>;
	pinctrl-1 = <&pinctrl_i2c3_1>;
	scl-gpios = GP_I2C3_SCL;
	sda-gpios = GP_I2C3_SDA;
	status = "okay";

	sc16is7xx-uart@4d {
		clocks = <&clk1m8432>;
		compatible = "nxp,sc16is752";
		interrupts-extended = GPIRQ_SC16IS7XX;
		pinctrl-names = "default";
		pinctrl-0 = <&pinctrl_i2c3_sc16is7xx>;
		reg = <0x4d>;
		reset-gpio = GP_SC16IS7XX_RESET;
	};
};

&i2c4 {
	clock-frequency = <100000>;
	pinctrl-names = "default";
	pinctrl-0 = <&pinctrl_i2c4>;
	pinctrl-1 = <&pinctrl_i2c4_1>;
	scl-gpios = GP_I2C4_SCL;
	sda-gpios = GP_I2C4_SDA;
	status = "okay";

	wm8960: codec@1a {
		compatible = "wlf,wm8960";
		clock-names = "mclk";
		clocks = <&clk IMX8MQ_CLK_SAI1_ROOT>;
		reg = <0x1a>;
		wlf,shared-lrclk;
	};
};

&irqsteer {
	status = "okay";
};

&lcdif {
	status = "disabled";
	assigned-clocks = <&clk IMX8MQ_CLK_LCDIF_PIXEL>,
			  <&clk IMX8MQ_VIDEO_PLL1_REF_SEL>;
	assigned-clock-parents = <&clk IMX8MQ_VIDEO_PLL1_OUT>,
				 <&clk IMX8MQ_CLK_25M>;
};

&mipi_dsi {
	/delete-property/ no_clk_reset;
	assigned-clocks = <&clk IMX8MQ_CLK_DSI_PHY_REF>,
			  <&clk IMX8MQ_CLK_DSI_CORE>,
			  <&clk IMX8MQ_CLK_DSI_AHB>,
			  <&clk IMX8MQ_VIDEO_PLL1_REF_SEL>,
			  <&clk IMX8MQ_CLK_DSI_IPG_DIV>;
	assigned-clock-parents = <&clk IMX8MQ_VIDEO_PLL1_OUT>,
				 <&clk IMX8MQ_SYS1_PLL_266M>,
				 <&clk IMX8MQ_SYS1_PLL_80M>,
				 <&clk IMX8MQ_CLK_25M>;
	assigned-clock-rates = <27000000>,
			       <266000000>,
			       <80000000>,
			       <0>,
			       <20000000>;
	status = "disabled";
	#address-cells = <1>;
	#size-cells = <0>;

	fb_mipi: panel@0 {
		backlight = <&backlight_mipi>;
		bits-per-color = <8>;
		bridge-de-active = <0>;
#if 0
		bridge-sync-active = <1>;
#endif
		bus-format = "rgb888";
		clocks = <&dphy 0>,
			<&clk IMX8MQ_CLK_LCDIF_PIXEL>;
		clock-names = "mipi_clk", "pixel_clock";
		compatible = "panel,common";
		delay-power-up = <2>;
		dsi-format = "rgb888";
		dsi-lanes = <4>;
		mode-skip-eot;
		mode-video;
		mode-video-burst;
		panel-height-mm = <136>;
		panel-width-mm = <217>;
		pinctrl-names = "sn65dsi83";
		pinctrl-0 = <&pinctrl_i2c2a_sn65dsi83>;
		power-supply = <&reg_vref_5v>;
		reg = <0>;
		sn65dsi83 = <&mipi_to_lvds>;

		display-timings {
			t_mipi: t-dsi-default {
				/* m101nwwb by default */
				clock-frequency = <70000000>;
				hactive = <1280>;
				vactive = <800>;
				hback-porch = <5>;
				hfront-porch = <123>;
				vback-porch = <3>;
				vfront-porch = <24>;
				hsync-len = <1>;
				vsync-len = <1>;
				hsync-active = <1>;
				vsync-active = <1>;
				de-active = <1>;
			};
		};

		mipi_to_lvds: mipi-to-lvds {
			alias = <&mipi_to_lvds>;
			enable-gpios = GP_I2C2A_SN65DSI83_EN;
			i2c-address = <0x2c>;
			i2c-bus = <&i2c2a>;
			interrupts-extended = GPIRQ_I2C2A_SN65DSI83;
			status = "disabled";
		};

		port {
			panel1_in: endpoint {
				remote-endpoint = <&mipi_dsi_out>;
			};
		};
	};

	ports {
		port@1 {
			reg = <1>;

			mipi_dsi_out: endpoint {
				remote-endpoint = <&panel1_in>;
			};
		};
	};
};

&mu {
	status = "okay";
};

&pcie0 {
	assigned-clocks = <&clk IMX8MQ_CLK_PCIE1_AUX>,
			  <&clk IMX8MQ_CLK_PCIE1_PHY>,
			  <&clk IMX8MQ_CLK_PCIE1_CTRL>;
	assigned-clock-parents = <&clk IMX8MQ_SYS2_PLL_50M>,
				 <&clk IMX8MQ_SYS2_PLL_100M>,
				 <&clk IMX8MQ_SYS2_PLL_250M>;
	assigned-clock-rates = <10000000>, <100000000>, <250000000>;
	clkreq-gpio = GP_PCIE0_CLKREQ;
#if 1
	clocks = <&clk IMX8MQ_CLK_PCIE1_ROOT>,
		<&clk IMX8MQ_CLK_PCIE1_AUX>,
		<&clk IMX8MQ_CLK_PCIE1_PHY>,
		<&pcie0_refclk>,
		<&clk IMX8MQ_CLK_CLK2_CG>;
	clock-names = "pcie", "pcie_aux", "pcie_phy", "pcie_bus", "pcie_ext_src";
	ext_osc = <0>;
#else
	ext_osc = <1>;
#endif
	fsl,tx-deemph-gen1 = <27>;
	fsl,tx-deemph-gen2-3p5db = <24>;
	fsl,tx-deemph-gen2-6db = <35>;
	fsl,tx-swing-full = <62>;
	fsl,tx-swing-low = <62>;
	fsl,max-link-speed = <1>;
	pinctrl-names = "default";
	pinctrl-0 = <&pinctrl_pcie0>;
	/* TODO check clock */
	reset-gpio = GP_PCIE0_RESET;
	status = "okay";
};

&pcie1 {
	assigned-clocks = <&clk IMX8MQ_CLK_PCIE2_AUX>,
			  <&clk IMX8MQ_CLK_PCIE2_PHY>,
			  <&clk IMX8MQ_CLK_PCIE2_CTRL>;
	assigned-clock-parents = <&clk IMX8MQ_SYS2_PLL_50M>,
				 <&clk IMX8MQ_SYS2_PLL_100M>,
				 <&clk IMX8MQ_SYS2_PLL_250M>;
	assigned-clock-rates = <10000000>, <100000000>, <250000000>;
	clocks = <&clk IMX8MQ_CLK_PCIE2_ROOT>,
		<&clk IMX8MQ_CLK_PCIE2_AUX>,
		<&clk IMX8MQ_CLK_PCIE2_PHY>,
		<&pcie1_refclk>;
	clock-names = "pcie", "pcie_aux", "pcie_phy", "pcie_bus";
	ext_osc = <1>;
	hard-wired;
	status = "disabled";
};

/delete-node/ &pgc_gpu;
/delete-node/ &pgc_vpu;
&pgc {
	pgc_gpuvpu: pgc-gpuvpu {
		#address-cells = <1>;
		#power-domain-cells = <0>;
		#size-cells = <0>;
		domain-name = "VPUGPU_PD";
		dvfs-supply = <&reg_buck5>;
		idle-microvolt = <900000 837000 990000>;

		pgc_gpu: power-domain@5 {
			clocks = <&clk IMX8MQ_CLK_GPU_AXI>,
				 <&clk IMX8MQ_CLK_GPU_SHADER_DIV>,
				 <&clk IMX8MQ_CLK_GPU_ROOT>,
				 <&clk IMX8MQ_CLK_GPU_AHB>;
			reg = <IMX8M_POWER_DOMAIN_GPU>;
			operating-points-v2 = <&gpu_opp_table>;
			#power-domain-cells = <0>;
		};

		pgc_vpu: power-domain@6 {
			clocks = <&clk IMX8MQ_CLK_VPU_G1_ROOT>,
				 <&clk IMX8MQ_CLK_VPU_G2_ROOT>,
				 <&clk IMX8MQ_CLK_VPU_DEC_ROOT>;
			reg = <IMX8M_POWER_DOMAIN_VPU>;
			operating-points-v2 = <&vpu_opp_table_g1>,
					<&vpu_opp_table_g2>,
					<&vpu_opp_table_dec>;
			#power-domain-cells = <0>;
		};
	};
};

&pwm1 {
	pinctrl-names = "default";
	pinctrl-0 = <&pinctrl_pwm1>;
	status = "okay";
};

&pwm2 {
	pinctrl-names = "default";
	pinctrl-0 = <&pinctrl_pwm2>;
	status = "okay";
};

&pwm3 {
	pinctrl-names = "default";
	pinctrl-0 = <&pinctrl_pwm3>;
	status = "okay";
};

&pwm4 {
	pinctrl-names = "default";
	pinctrl-0 = <&pinctrl_pwm4>;
	status = "okay";
};

&sai1 {
	pinctrl-names = "default";
	pinctrl-0 = <&pinctrl_sai1>;
	assigned-clocks = <&clk IMX8MQ_AUDIO_PLL1>, <&clk IMX8MQ_CLK_SAI1>;
	assigned-clock-parents = <0>, <&clk IMX8MQ_AUDIO_PLL1_OUT>;
	assigned-clock-rates = <786432000>, <12288000>;
	status = "okay";
};

&uart1 { /* console */
	pinctrl-names = "default";
	pinctrl-0 = <&pinctrl_uart1>;
	assigned-clocks = <&clk IMX8MQ_CLK_UART1>;
	assigned-clock-parents = <&clk IMX8MQ_CLK_25M>;
	status = "okay";
};

&uart2 {
	pinctrl-names = "default";
	pinctrl-0 = <&pinctrl_uart2>;
	assigned-clocks = <&clk IMX8MQ_CLK_UART2>;
	assigned-clock-parents = <&clk IMX8MQ_CLK_25M>;
	status = "okay";
};

&uart3 {
	pinctrl-names = "default";
	pinctrl-0 = <&pinctrl_uart3>;
	assigned-clocks = <&clk IMX8MQ_CLK_UART3>;
	assigned-clock-parents = <&clk IMX8MQ_SYS1_PLL_80M>;
	status = "okay";
};

&uart4 {
	pinctrl-names = "default";
	pinctrl-0 = <&pinctrl_uart4>;
	assigned-clocks = <&clk IMX8MQ_CLK_UART4>;
	assigned-clock-parents = <&clk IMX8MQ_CLK_25M>;
	status = "okay";
};

&usb3_phy0 {
	status = "okay";
	vbus-supply = <&reg_vref_5v>;
};

&usb_dwc3_0 {
	dr_mode = "otg";
	pinctrl-names = "default";
	pinctrl-0 = <&pinctrl_usb3_0>;
	status = "okay";
	vbus-supply = <&reg_usb_otg_vbus>;
};

&usb3_phy1 {
	status = "okay";
	vbus-supply = <&reg_vref_5v>;
};

&usb_dwc3_1 {
	dr_mode = "host";
	pinctrl-names = "default";
	pinctrl-0 = <&pinctrl_usb3_1>;
	reset-gpios = GP_USB3_1_HUB_RESET;
	status = "okay";
	vbus-supply = <&reg_vref_5v>;
};

&usdhc1 {
	bus-width = <8>;
	no-mmc-hs400;
	non-removable;
	pinctrl-names = "default", "state_100mhz", "state_200mhz";
	pinctrl-0 = <&pinctrl_usdhc1>;
	pinctrl-1 = <&pinctrl_usdhc1_100mhz>;
	pinctrl-2 = <&pinctrl_usdhc1_200mhz>;
	reset-gpios = GP_EMMC_RESET;
	status = "okay";
	vmmc-supply = <&reg_vref_3v3>;
	vqmmc-1-8-v;
	vqmmc-supply = <&reg_vref_1v8>;
};

&usdhc2 {
	bus-width = <4>;
	cd-gpios = GP_USDHC2_CD;
	pinctrl-names = "default", "state_100mhz", "state_200mhz";
	pinctrl-0 = <&pinctrl_usdhc2>;
	pinctrl-1 = <&pinctrl_usdhc2_100mhz>;
	pinctrl-2 = <&pinctrl_usdhc2_200mhz>;
	status = "okay";
	vmmc-supply = <&reg_vref_3v3>;
#if 1
	vqmmc-supply = <&reg_usdhc2_vqmmc>;
#else
	vqmmc-supply = <&reg_ldo2>;
#endif
};

&vpu {
	power-domains = <&pgc_vpu>;
	regulator-supply = <&reg_vref_0v9>;
	status = "okay";
};

&wdog1 {
	pinctrl-names = "default";
	pinctrl-0 = <&pinctrl_wdog>;
	fsl,ext-reset-output;
	status = "okay";
};
